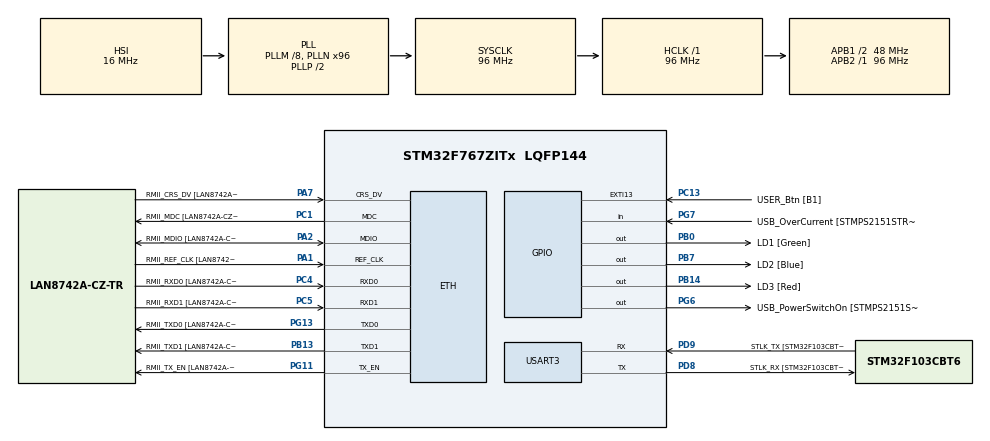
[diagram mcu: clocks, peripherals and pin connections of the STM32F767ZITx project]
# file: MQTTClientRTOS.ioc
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Mcu.Family=STM32F7
RCC.CortexFreq_Value=96000000
PG6.Signal=GPIO_Output
PB14.GPIO_Label=LD3 [Red]
PG6.GPIO_Label=USB_PowerSwitchOn [STMPS2151STR_EN]
PA14.GPIO_Label=TCK
RCC.SYSCLKSourceVirtual=RCC_SYSCLKSOURCE_PLLCLK
PB0.GPIO_Label=LD1 [Green]
PC14/OSC32_IN.Mode=LSE-External-Oscillator
PC5.Mode=RMII
PC13.GPIO_Label=USER_Btn [B1]
PB13.GPIO_Label=RMII_TXD1 [LAN8742A-CZ-TR_TXD1]
PB13.Signal=ETH_TXD1
PG13.Signal=ETH_TXD0
PD9.Mode=Asynchronous
PG11.Signal=ETH_TX_EN
RCC.SYSCLKSource=RCC_SYSCLKSOURCE_PLLCLK
ProjectManager.StackSize=0x400
LWIP.NETMASK_ADDRESS=255.255.255.000
USART3.VirtualMode-Asynchronous=VM_ASYNC
PA12.Signal=USB_OTG_FS_DP
ETH.PHY_Value=0
PH0/OSC_IN.Mode=HSE-External-Clock-Source
RCC.HCLKFreq_Value=96000000
RCC.APB2TimFreq_Value=96000000
PH1/OSC_OUT.Signal=RCC_OSC_OUT
PD8.Signal=USART3_TX
RCC.AHBFreq_Value=96000000
NVIC.ETH_IRQn=true\:5\:0\:false\:false\:true\:true\:false\:true
RCC.HSE_VALUE=8000000
RCC.PLLMUL=RCC_PLL_MUL9
PC4.GPIO_Label=RMII_RXD0 [LAN8742A-CZ-TR_RXD0]
PA14.Mode=Serial_Wire
PA10.GPIO_Label=USB_ID
PB7.Signal=GPIO_Output
PA8.Signal=USB_OTG_FS_SOF
PG13.Mode=RMII
ETH.PHY_Name=LAN8742A_PHY_ADDRESS
VP_FREERTOS_VS_CMSIS_V1.Mode=CMSIS_V1
PH1/OSC_OUT.Mode=HSE-External-Clock-Source
PB7.GPIO_Label=LD2 [Blue]
Mcu.Package=LQFP144
NVIC.TimeBase=TIM3_IRQn
PC14/OSC32_IN.Signal=RCC_OSC32_IN
PA2.GPIO_Label=RMII_MDIO [LAN8742A-CZ-TR_MDIO]
NVIC.TimeBaseIP=TIM3
PA10.Signal=USB_OTG_FS_ID
RCC.APB1TimFreq_Value=96000000
PG11.GPIO_Label=RMII_TX_EN [LAN8742A-CZ-TR_TXEN]
PC5.Signal=ETH_RXD1
PB13.Mode=RMII
PC4.Mode=RMII
LWIP.IP_ADDRESS=192.168.000.111
PB3.GPIO_Label=SWO
FREERTOS.Tasks01=defaultTask,0,256,StartDefaultTask,Default,NULL,Dynamic,NULL,NULL
PA7.Mode=RMII
PG7.Signal=GPIO_Input
PD9.GPIO_Label=STLK_TX [STM32F103CBT6_PA2]
PC13.Signal=GPXTI13
PA9.GPIO_Label=USB_VBUS
PC4.Signal=ETH_RXD0
PA11.GPIO_Label=USB_DM
PD9.Signal=USART3_RX
LWIP.LWIP_DHCP=0
RCC.APB1CLKDivider=RCC_HCLK_DIV2
PG13.GPIO_Label=RMII_TXD0 [LAN8742A-CZ-TR_TXD0]
ETH.PhyAddress=0
PA12.GPIO_Label=USB_DP
VP_LWIP_VS_Enabled.Mode=Enabled
LWIP.GATEWAY_ADDRESS=192.168.000.001
PD8.GPIO_Label=STLK_RX [STM32F103CBT6_PA3]
PA13.Signal=SYS_JTMS-SWDIO
VP_SYS_VS_tim3.Mode=TIM3
PA8.GPIO_Label=USB_SOF [TP1]
ProjectManager.TargetToolchain=STM32CubeIDE
PA9.Signal=USB_OTG_FS_VBUS
RCC.USBFreq_Value=48000000
PD8.Mode=Asynchronous
PA1.Signal=ETH_REF_CLK
PB14.Signal=GPIO_Output
board=NUCLEO-F767ZI
RCC.VCOOutputFreq_Value=192000000
NVIC.TIM3_IRQn=true\:0\:0\:false\:false\:true\:false\:false\:true
PH0/OSC_IN.Signal=RCC_OSC_IN
RCC.APB2Freq_Value=96000000
PA1.Mode=RMII
RCC.PRESCALERUSB=RCC_USBCLKSOURCE_PLL_DIV1_5
PG7.GPIO_Label=USB_OverCurrent [STMPS2151STR_FAULT]
PA1.GPIO_Label=RMII_REF_CLK [LAN8742A-CZ-TR_REFCLK0]
PC1.GPIO_Label=RMII_MDC [LAN8742A-CZ-TR_MDC]
PA13.Mode=Serial_Wire
Mcu.Name=STM32F767ZITx
PA2.Signal=ETH_MDIO
PA13.GPIO_Label=TMS
RCC.48MHZClocksFreq_Value=24000000
PB3.Signal=SYS_JTDO-SWO
RCC.SYSCLKFreq_VALUE=96000000
ETH.MediaInterface=ETH_MEDIA_INTERFACE_RMII
PA7.GPIO_Label=RMII_CRS_DV [LAN8742A-CZ-TR_CRS_DV]
PC5.GPIO_Label=RMII_RXD1 [LAN8742A-CZ-TR_RXD1]
PC15/OSC32_OUT.Mode=LSE-External-Oscillator
PG11.Mode=RMII
PA11.Signal=USB_OTG_FS_DM
PA14.Signal=SYS_JTCK-SWCLK
ProjectManager.HeapSize=0x200
LWIP.Version=v2.1.2_Cube
RCC.HSI_VALUE=16000000
PH0/OSC_IN.GPIO_Label=MCO [STM32F103CBT6_PA8]
RCC.PLLQ=4
NVIC.PriorityGroup=NVIC_PRIORITYGROUP_4
RCC.PLLM=8
RCC.PLLN=96
PA2.Mode=RMII
PC15/OSC32_OUT.Signal=RCC_OSC32_OUT
RCC.APB1Freq_Value=48000000
PB0.Signal=GPIO_Output
PC1.Signal=ETH_MDC
PC1.Mode=RMII
PA7.Signal=ETH_CRS_DV

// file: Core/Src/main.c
/* USER CODE BEGIN Header */
/**
  ******************************************************************************
  * @file           : main.c
  * @brief          : Main program body
  ******************************************************************************
  * @attention
  *
  * <h2><center>&copy; Copyright (c) 2021 STMicroelectronics.
  * All rights reserved.</center></h2>
  *
  * This software component is licensed by ST under BSD 3-Clause license,
  * the "License"; You may not use this file except in compliance with the
  * License. You may obtain a copy of the License at:
  *                        opensource.org/licenses/BSD-3-Clause
  *
  ******************************************************************************
  */
/* USER CODE END Header */
#include "main.h"
#include "cmsis_os.h"
#include "lwip.h"
#include "mqtt.h"

/* USER CODE BEGIN PTD */
ip_addr_t ip_addr;
mqtt_client_t *client;
/* USER CODE END PTD */

UART_HandleTypeDef huart3;

osThreadId defaultTaskHandle;

void SystemClock_Config(void);
static void MX_GPIO_Init(void);
static void MX_USART3_UART_Init(void);
void StartDefaultTask(void const * argument);

/* USER CODE BEGIN PFP */

static void mqtt_pub_request_cb(void *arg, err_t result)
{
  if(result != ERR_OK) {
    printf("Publish result: %d\n", result);
  }
}

void example_publish(mqtt_client_t *client, void *arg)
{
   char message[10];
  snprintf(message,10,"HOLA\n");

  err_t err;
  u8_t qos = 0; /* 0 1 or 2, see MQTT specification */
  u8_t retain = 0; /* No don't retain such crappy payload... */
  err = mqtt_publish(client, "pub_topic", message, 10, qos, retain, mqtt_pub_request_cb, arg);
  if(err != ERR_OK) {
	  HAL_GPIO_TogglePin(GPIOB, GPIO_PIN_14);
	  HAL_UART_Transmit(&huart3, &err,1,100);
    printf("Publish err: %d\n", err);
  }
  mqtt_disconnect(client);
}

/* Called when publish is complete either with sucess or failure */

/* The idea is to demultiplex topic and create some reference to be used in data callbacks
   Example here uses a global variable, better would be to use a member in arg
   If RAM and CPU budget allows it, the easiest implementation might be to just take a copy of
   the topic string and use it in mqtt_incoming_data_cb
*/
static int inpub_id;
static void mqtt_incoming_publish_cb(void *arg, const char *topic, u32_t tot_len)
{
  printf("Incoming publish at topic %s with total length %u\n", topic, (unsigned int)tot_len);

  /* Decode topic string into a user defined reference */
  if(strcmp(topic, "print_payload") == 0) {
    inpub_id = 0;
  } else if(topic[0] == 'A') {
    /* All topics starting with 'A' might be handled at the same way */
    inpub_id = 1;
  } else {
    /* For all other topics */
    inpub_id = 2;
  }
}

static void mqtt_incoming_data_cb(void *arg, const u8_t *data, u16_t len, u8_t flags)
{
  printf("Incoming publish payload with length %d, flags %u\n", len, (unsigned int)flags);

  if(flags & MQTT_DATA_FLAG_LAST) {
    /* Last fragment of payload received (or whole part if payload fits receive buffer
       See MQTT_VAR_HEADER_BUFFER_LEN)  */

    /* Call function or do action depending on reference, in this case inpub_id */
    if(inpub_id == 0) {
      /* Don't trust the publisher, check zero termination */
      if(data[len-1] == 0) {
        printf("mqtt_incoming_data_cb: %s\n", (const char *)data);
      }
    } else if(inpub_id == 1) {
      /* Call an 'A' function... */
    } else {
      printf("mqtt_incoming_data_cb: Ignoring payload...\n");
    }
  } else {
    /* Handle fragmented payload, store in buffer, write to file or whatever */
  }
}

static void mqtt_sub_request_cb(void *arg, err_t result)
{
  /* Just print the result code here for simplicity,
     normal behaviour would be to take some action if subscribe fails like
     notifying user, retry subscribe or disconnect from server */
  printf("Subscribe result: %d\n", result);
}

static void mqtt_connection_cb(mqtt_client_t *client, void *arg, mqtt_connection_status_t status)
{
  err_t err;
  if(status == MQTT_CONNECT_ACCEPTED) {
    printf("mqtt_connection_cb: Successfully connected\n");

    /* Setup callback for incoming publish requests */
    mqtt_set_inpub_callback(client, mqtt_incoming_publish_cb, mqtt_incoming_data_cb, arg);

    /* Subscribe to a topic named "subtopic" with QoS level 1, call mqtt_sub_request_cb with result */
    err = mqtt_subscribe(client, "subtopic", 1, mqtt_sub_request_cb, arg);

    if(err != ERR_OK) {
      printf("mqtt_subscribe return: %d\n", err);
    }
  } else {
    printf("mqtt_connection_cb: Disconnected, reason: %d\n", status);

    /* Its more nice to be connected, so try to reconnect */
    example_do_connect(client);
  }
}

void example_do_connect(mqtt_client_t *client)
{
  struct mqtt_connect_client_info_t ci;
  err_t err;

  /* Setup an empty client info structure */
  memset(&ci, 0, sizeof(ci));

  /* Minimal amount of information required is client identifier, so set it here */
  ci.client_id = "lwip_test";

  /* Initiate client and connect to server, if this fails immediately an error code is returned
     otherwise mqtt_connection_cb will be called with connection result after attempting
     to establish a connection with the server.
     For now MQTT version 3.1.1 is always used */

  err = mqtt_client_connect(client, &ip_addr, MQTT_PORT, mqtt_connection_cb, 0, &ci);

  if(err != ERR_OK) {
    printf("mqtt_connect return %d\n", err);
  }
}
/* USER CODE END PFP */

int main(void)
{

  /* MCU Configuration--------------------------------------------------------*/

  /* Reset of all peripherals, Initializes the Flash interface and the Systick. */
  HAL_Init();

  /* Configure the system clock */
  SystemClock_Config();

  /* Initialize all configured peripherals */
  MX_GPIO_Init();
  MX_USART3_UART_Init();

  /* Create the thread(s) */
  /* definition and creation of defaultTask */
  osThreadDef(defaultTask, StartDefaultTask, osPriorityNormal, 0, 256);
  defaultTaskHandle = osThreadCreate(osThread(defaultTask), NULL);

  /* Start scheduler */
  osKernelStart();

  /* We should never get here as control is now taken by the scheduler */
  /* Infinite loop */
  while (1)
  {

  }
}

void SystemClock_Config(void)
{
  RCC_OscInitTypeDef RCC_OscInitStruct = {0};
  RCC_ClkInitTypeDef RCC_ClkInitStruct = {0};
  RCC_PeriphCLKInitTypeDef PeriphClkInitStruct = {0};

  /** Configure LSE Drive Capability
  */
  HAL_PWR_EnableBkUpAccess();
  /** Configure the main internal regulator output voltage
  */
  __HAL_RCC_PWR_CLK_ENABLE();
  __HAL_PWR_VOLTAGESCALING_CONFIG(PWR_REGULATOR_VOLTAGE_SCALE3);
  /** Initializes the RCC Oscillators according to the specified parameters
  * in the RCC_OscInitTypeDef structure.
  */
  RCC_OscInitStruct.OscillatorType = RCC_OSCILLATORTYPE_HSI;
  RCC_OscInitStruct.HSIState = RCC_HSI_ON;
  RCC_OscInitStruct.HSICalibrationValue = RCC_HSICALIBRATION_DEFAULT;
  RCC_OscInitStruct.PLL.PLLState = RCC_PLL_ON;
  RCC_OscInitStruct.PLL.PLLSource = RCC_PLLSOURCE_HSI;
  RCC_OscInitStruct.PLL.PLLM = 8;
  RCC_OscInitStruct.PLL.PLLN = 96;
  RCC_OscInitStruct.PLL.PLLP = RCC_PLLP_DIV2;
  RCC_OscInitStruct.PLL.PLLQ = 4;
  if (HAL_RCC_OscConfig(&RCC_OscInitStruct) != HAL_OK)
  {
    Error_Handler();
  }
  /** Activate the Over-Drive mode
  */
  if (HAL_PWREx_EnableOverDrive() != HAL_OK)
  {
    Error_Handler();
  }
  /** Initializes the CPU, AHB and APB buses clocks
  */
  RCC_ClkInitStruct.ClockType = RCC_CLOCKTYPE_HCLK|RCC_CLOCKTYPE_SYSCLK
                              |RCC_CLOCKTYPE_PCLK1|RCC_CLOCKTYPE_PCLK2;
  RCC_ClkInitStruct.SYSCLKSource = RCC_SYSCLKSOURCE_PLLCLK;
  RCC_ClkInitStruct.AHBCLKDivider = RCC_SYSCLK_DIV1;
  RCC_ClkInitStruct.APB1CLKDivider = RCC_HCLK_DIV2;
  RCC_ClkInitStruct.APB2CLKDivider = RCC_HCLK_DIV1;

  if (HAL_RCC_ClockConfig(&RCC_ClkInitStruct, FLASH_LATENCY_3) != HAL_OK)
  {
    Error_Handler();
  }
  PeriphClkInitStruct.PeriphClockSelection = RCC_PERIPHCLK_USART3;
  PeriphClkInitStruct.Usart3ClockSelection = RCC_USART3CLKSOURCE_PCLK1;
  if (HAL_RCCEx_PeriphCLKConfig(&PeriphClkInitStruct) != HAL_OK)
  {
    Error_Handler();
  }
}

static void MX_USART3_UART_Init(void)
{

  huart3.Instance = USART3;
  huart3.Init.BaudRate = 115200;
  huart3.Init.WordLength = UART_WORDLENGTH_8B;
  huart3.Init.StopBits = UART_STOPBITS_1;
  huart3.Init.Parity = UART_PARITY_NONE;
  huart3.Init.Mode = UART_MODE_TX_RX;
  huart3.Init.HwFlowCtl = UART_HWCONTROL_NONE;
  huart3.Init.OverSampling = UART_OVERSAMPLING_16;
  huart3.Init.OneBitSampling = UART_ONE_BIT_SAMPLE_DISABLE;
  huart3.AdvancedInit.AdvFeatureInit = UART_ADVFEATURE_NO_INIT;
  if (HAL_UART_Init(&huart3) != HAL_OK)
  {
    Error_Handler();
  }

}

static void MX_GPIO_Init(void)
{
  GPIO_InitTypeDef GPIO_InitStruct = {0};

  /* GPIO Ports Clock Enable */
  __HAL_RCC_GPIOC_CLK_ENABLE();
  __HAL_RCC_GPIOH_CLK_ENABLE();
  __HAL_RCC_GPIOA_CLK_ENABLE();
  __HAL_RCC_GPIOB_CLK_ENABLE();
  __HAL_RCC_GPIOD_CLK_ENABLE();
  __HAL_RCC_GPIOG_CLK_ENABLE();

  /*Configure GPIO pin Output Level */
  HAL_GPIO_WritePin(GPIOB, LD1_Pin|LD3_Pin|LD2_Pin, GPIO_PIN_RESET);

  /*Configure GPIO pin Output Level */
  HAL_GPIO_WritePin(USB_PowerSwitchOn_GPIO_Port, USB_PowerSwitchOn_Pin, GPIO_PIN_RESET);

  /*Configure GPIO pin : USER_Btn_Pin */
  GPIO_InitStruct.Pin = USER_Btn_Pin;
  GPIO_InitStruct.Mode = GPIO_MODE_IT_RISING;
  GPIO_InitStruct.Pull = GPIO_NOPULL;
  HAL_GPIO_Init(USER_Btn_GPIO_Port, &GPIO_InitStruct);

  /*Configure GPIO pins : LD1_Pin LD3_Pin LD2_Pin */
  GPIO_InitStruct.Pin = LD1_Pin|LD3_Pin|LD2_Pin;
  GPIO_InitStruct.Mode = GPIO_MODE_OUTPUT_PP;
  GPIO_InitStruct.Pull = GPIO_NOPULL;
  GPIO_InitStruct.Speed = GPIO_SPEED_FREQ_LOW;
  HAL_GPIO_Init(GPIOB, &GPIO_InitStruct);

  /*Configure GPIO pin : USB_PowerSwitchOn_Pin */
  GPIO_InitStruct.Pin = USB_PowerSwitchOn_Pin;
  GPIO_InitStruct.Mode = GPIO_MODE_OUTPUT_PP;
  GPIO_InitStruct.Pull = GPIO_NOPULL;
  GPIO_InitStruct.Speed = GPIO_SPEED_FREQ_LOW;
  HAL_GPIO_Init(USB_PowerSwitchOn_GPIO_Port, &GPIO_InitStruct);

  /*Configure GPIO pin : USB_OverCurrent_Pin */
  GPIO_InitStruct.Pin = USB_OverCurrent_Pin;
  GPIO_InitStruct.Mode = GPIO_MODE_INPUT;
  GPIO_InitStruct.Pull = GPIO_NOPULL;
  HAL_GPIO_Init(USB_OverCurrent_GPIO_Port, &GPIO_InitStruct);

  /*Configure GPIO pins : USB_SOF_Pin USB_ID_Pin USB_DM_Pin USB_DP_Pin */
  GPIO_InitStruct.Pin = USB_SOF_Pin|USB_ID_Pin|USB_DM_Pin|USB_DP_Pin;
  GPIO_InitStruct.Mode = GPIO_MODE_AF_PP;
  GPIO_InitStruct.Pull = GPIO_NOPULL;
  GPIO_InitStruct.Speed = GPIO_SPEED_FREQ_VERY_HIGH;
  GPIO_InitStruct.Alternate = GPIO_AF10_OTG_FS;
  HAL_GPIO_Init(GPIOA, &GPIO_InitStruct);

  /*Configure GPIO pin : USB_VBUS_Pin */
  GPIO_InitStruct.Pin = USB_VBUS_Pin;
  GPIO_InitStruct.Mode = GPIO_MODE_INPUT;
  GPIO_InitStruct.Pull = GPIO_NOPULL;
  HAL_GPIO_Init(USB_VBUS_GPIO_Port, &GPIO_InitStruct);

}

void StartDefaultTask(void const * argument)
{
  /* init code for LWIP */
  MX_LWIP_Init();

  /* USER CODE BEGIN 5 */
static const char mqtt_server[13] ={'1','9','2','.','1','6','8','.','0','.','1','0','6'};
client = mqtt_client_new();
ipaddr_aton(mqtt_server,&ip_addr);
  //IP_ADDR4( ip_addr,192,168,0,106);

    if(client != NULL) {
      example_do_connect(client);
    }

  /* Infinite loop */
  for(;;)
  {
	  example_publish(client, NULL);

	  example_do_connect(client);
	  osDelay(1000);
  }
  /* USER CODE END 5 */
}

 /**
  * @brief  Period elapsed callback in non blocking mode
  * @note   This function is called  when TIM3 interrupt took place, inside
  * HAL_TIM_IRQHandler(). It makes a direct call to HAL_IncTick() to increment
  * a global variable "uwTick" used as application time base.
  * @param  htim : TIM handle
  * @retval None
  */
void HAL_TIM_PeriodElapsedCallback(TIM_HandleTypeDef *htim)
{
  if (htim->Instance == TIM3) {
    HAL_IncTick();
  }
}

void Error_Handler(void)
{
  __disable_irq();
  while (1)
  {
  }
}

/************************ (C) COPYRIGHT STMicroelectronics *****END OF FILE****/
